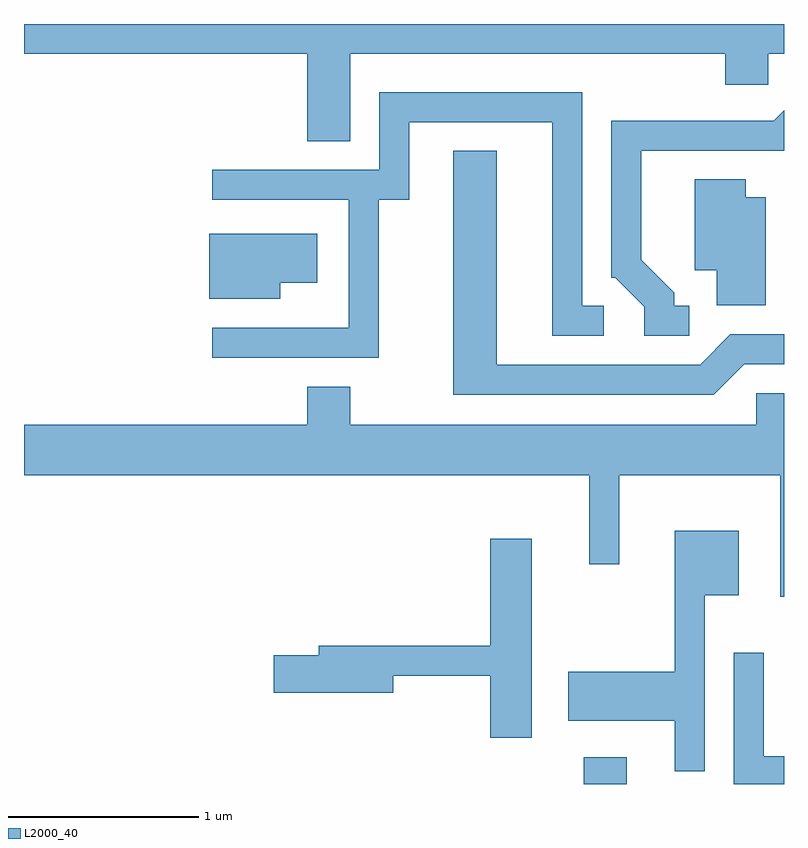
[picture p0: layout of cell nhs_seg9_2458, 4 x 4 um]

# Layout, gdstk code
import gdstk
lib = gdstk.Library(unit=1e-6, precision=1e-09)
def R(c, l, rs):  # rectangles x0, y0, x1, y1
    for r in rs: c.add(gdstk.rectangle(r[:2], r[2:], *l))
def P(c, l, *ps):  # polygons
    for p in ps: c.add(gdstk.Polygon(p, *l))
L2000_40 = (2000, 40)

nhs_seg9_2458 = lib.new_cell('nhs_seg9_2458')
R(nhs_seg9_2458, L2000_40, [(260.556,1972.432,260.784,1972.574)])
P(nhs_seg9_2458, L2000_40, [(259.329,1976.276),(261.301,1976.276),(261.301,1976.111),(261.529,1976.111),(261.529,1976.276),(261.611,1976.276),(261.611,1976.432),(257.611,1976.432),(257.611,1976.276),(259.101,1976.276),(259.101,1975.816),(259.329,1975.816)],
  [(259.479,1975.506),(259.639,1975.506),(259.639,1975.916),(260.391,1975.916),(260.391,1974.791),(260.663,1974.791),(260.663,1974.949),(260.549,1974.949),(260.549,1976.074),(259.481,1976.074),(259.481,1975.664),(258.603,1975.664),(258.603,1975.506),(259.321,1975.506),(259.321,1974.834),(258.603,1974.834),(258.603,1974.676),(259.479,1974.676)],
  [(261.113,1974.949),(261.034,1974.949),(261.034,1975.017),(260.859,1975.192),(260.859,1975.766),(261.611,1975.766),(261.611,1975.977),(261.558,1975.924),(260.701,1975.924),(260.701,1975.096),(260.724,1975.096),(260.876,1974.944),(260.876,1974.791),(261.113,1974.791)],
  [(261.402,1974.641),(261.611,1974.641),(261.611,1974.799),(261.329,1974.799),(261.169,1974.639),(260.099,1974.639),(260.099,1975.764),(259.871,1975.764),(259.871,1974.481),(261.242,1974.481)],
  [(261.514,1975.519),(261.409,1975.519),(261.409,1975.614),(261.141,1975.614),(261.141,1975.136),(261.256,1975.136),(261.256,1974.951),(261.514,1974.951)],
  [(258.959,1975.071),(259.154,1975.071),(259.154,1975.329),(258.586,1975.329),(258.586,1974.986),(258.959,1974.986)],
  [(261.611,1974.489),(261.466,1974.489),(261.466,1974.324),(259.329,1974.324),(259.329,1974.524),(259.101,1974.524),(259.101,1974.324),(257.611,1974.324),(257.611,1974.056),(260.586,1974.056),(260.586,1973.588),(260.744,1973.588),(260.744,1974.056),(261.591,1974.056),(261.591,1973.418),(261.611,1973.418)],
  [(261.194,1973.426),(261.374,1973.426),(261.374,1973.764),(261.036,1973.764),(261.036,1973.024),(260.476,1973.024),(260.476,1972.766),(261.036,1972.766),(261.036,1972.498),(261.194,1972.498)],
  [(260.284,1973.724),(260.066,1973.724),(260.066,1973.159),(259.161,1973.159),(259.161,1973.109),(258.926,1973.109),(258.926,1972.911),(259.554,1972.911),(259.554,1973.001),(260.066,1973.001),(260.066,1972.676),(260.284,1972.676)],
  [(261.611,1972.579),(261.504,1972.579),(261.504,1973.123),(261.346,1973.123),(261.346,1972.432),(261.611,1972.432)])

lib.write_gds('nhs_seg9_2458.gds')
